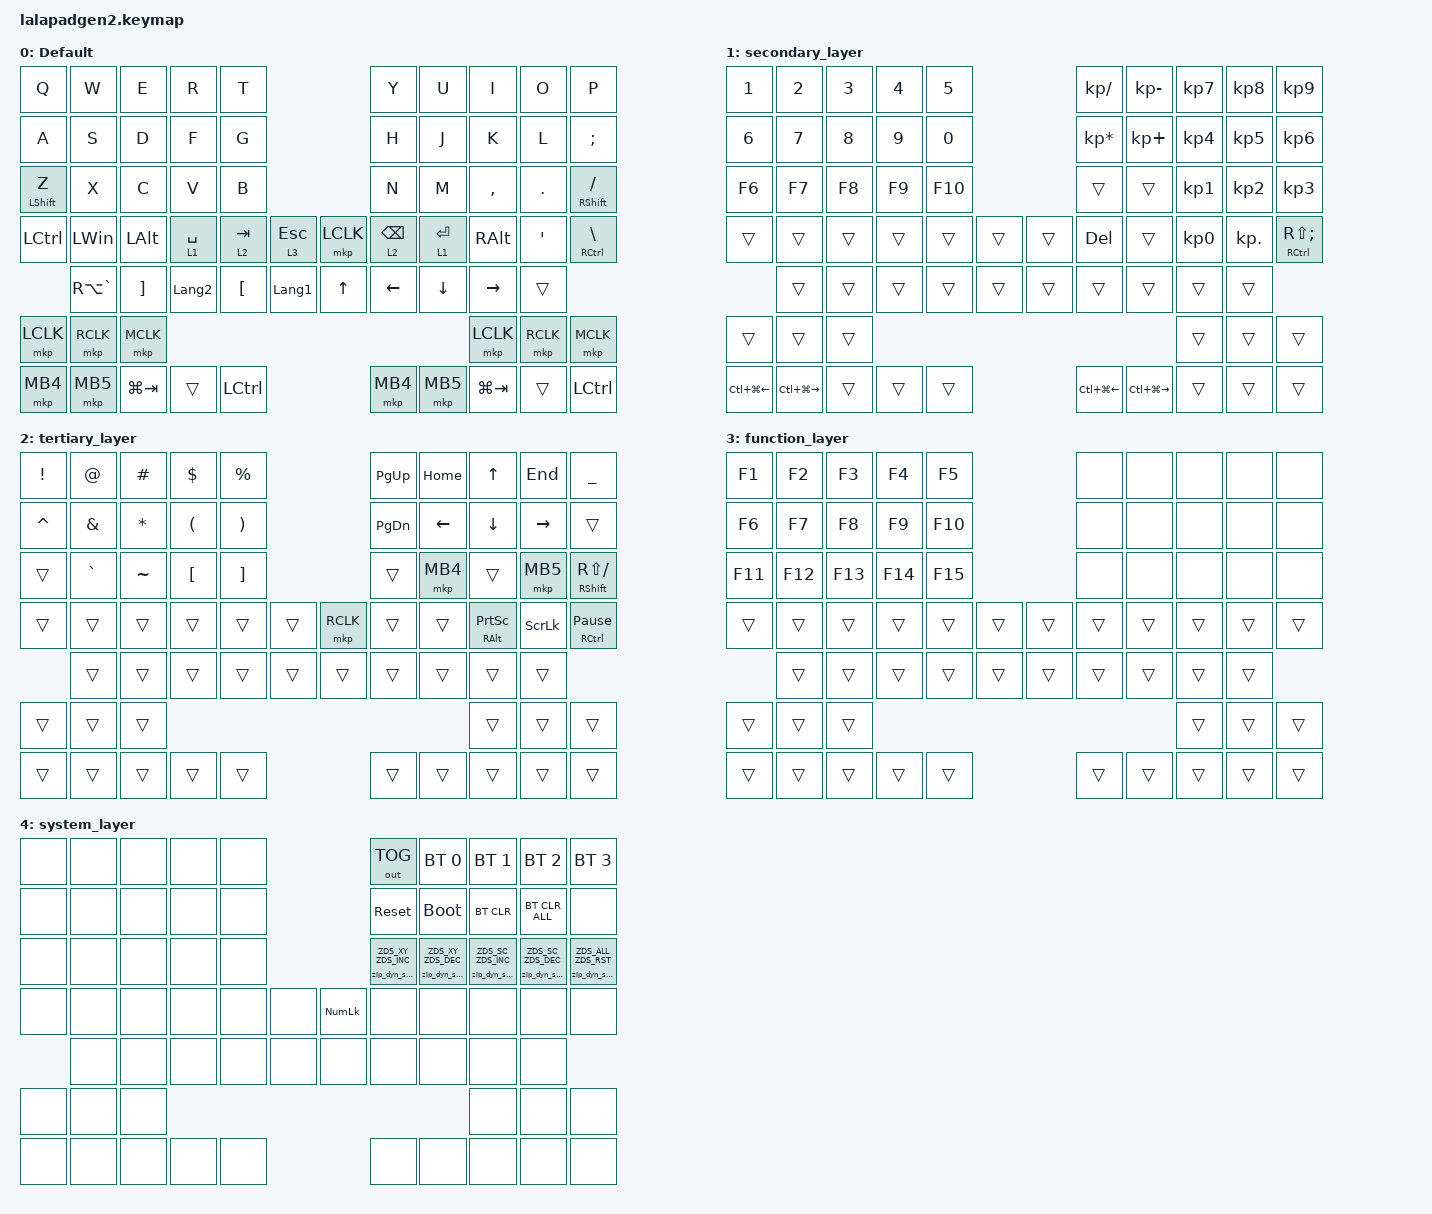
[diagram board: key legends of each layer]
#include <input/processors.dtsi>
#include <dt-bindings/zmk/zip_dynamic_scale.h>
#include <behaviors.dtsi>
#include <dt-bindings/zmk/bt.h>
#include <dt-bindings/zmk/keys.h>
#include <dt-bindings/zmk/outputs.h>
#include <dt-bindings/zmk/pointing.h>

#define DEFAULT_LAYER   0
#define SECONDARY_LAYER 1
#define TERTIARY_LAYER  2
#define SYSTEM_LAYER    3

&mt { quick-tap-ms = <200>; };

&lt { quick-tap-ms = <200>; };

/ {
    behaviors {
        zip_dyn_scale: zip_dyn_scale {
            compatible = "zmk,behavior-zip-dynamic-scale";
            #binding-cells = <2>;
        };

        zip_dyn_scale_set: zip_dyn_scale_set {
            compatible = "zmk,behavior-zip-dynamic-scale-set";
            #binding-cells = <2>;
        };

        mt2: mod_tap2 {
            compatible = "zmk,behavior-hold-tap";
            #binding-cells = <2>;
            flavor = "tap-preferred";
            tapping-term-ms = <200>;
            quick-tap-ms = <200>;
            require-prior-idle-ms = <125>;
            bindings = <&kp>, <&kp>;
        };

        tap_dance_layer_1and2: tap_dance_layer_1and2 {
            compatible = "zmk,behavior-tap-dance";
            label = "td_mo12";
            #binding-cells = <0>;
            bindings = <&mo 1>, <&mo 2>;
        };

        lt2: lt2 {
            compatible = "zmk,behavior-hold-tap";
            label = "layer_tap2";
            bindings = <&mo>, <&kp>;

            #binding-cells = <2>;
            tapping-term-ms = <200>;
            quick-tap-ms = <200>;
            require-prior-idle-ms = <200>;
        };
    };

    combos {
        compatible = "zmk,combos";

        CONBO_ESC {
            bindings = <&kp ESCAPE>;
            key-positions = <0 1>;
            timeout-ms = <30>;
        };

        COMBO_TAB {
            bindings = <&kp TAB>;
            key-positions = <11 10>;
            timeout-ms = <30>;
        };

        COMBO_EQ_MINUS {
            bindings = <&mt EQUAL MINUS>;
            key-positions = <9 8>;
            timeout-ms = <30>;
        };

        NUMLOCK {
            bindings = <&kp KP_NUMLOCK>;
            key-positions = <35 36>;
        };
    };

    keymap {
        compatible = "zmk,keymap";

        DEFAULT_LAYER {
            display-name = "Default";
            bindings = <
&kp Q              &kp W          &kp E              &kp R           &kp T                                        &kp Y             &kp U         &kp I          &kp O             &kp P
&kp A              &kp S          &kp D              &kp F           &kp G                                        &kp H             &kp J         &kp K          &kp L             &kp SEMICOLON
&mt2 LEFT_SHIFT Z  &kp X          &kp C              &kp V           &kp B                                        &kp N             &kp M         &kp COMMA      &kp PERIOD        &mt2 RIGHT_SHIFT SLASH
&kp LCTRL          &kp LWIN       &kp LEFT_ALT       &lt2 1 SPACE    &lt2 2 TAB        &lt2 3 ESC      &mkp LCLK  &lt2 2 BACKSPACE  &lt2 1 ENTER  &kp RIGHT_ALT  &kp SINGLE_QUOTE  &mt2 RCTRL BACKSLASH
                   &kp RA(GRAVE)  &kp RIGHT_BRACKET  &kp LANGUAGE_2  &kp LEFT_BRACKET  &kp LANGUAGE_1  &kp UP     &kp LEFT          &kp DOWN      &kp RIGHT      &trans
&mkp LCLK          &mkp RCLK      &mkp MCLK                                                                                                       &mkp LCLK      &mkp RCLK         &mkp MCLK
&mkp MB4           &mkp MB5       &kp LG(TAB)        &trans          &kp LCTRL                                    &mkp MB4          &mkp MB5      &kp LG(TAB)    &trans            &kp LCTRL
            >;
        };

        SECONDARY_LAYER {
            display-name = "secondary_layer";
            bindings = <
&kp NUMBER_1      &kp NUMBER_2       &kp NUMBER_3  &kp NUMBER_4  &kp N5                   &kp KP_DIVIDE     &kp KP_MINUS       &kp KP_NUMBER_7  &kp KP_NUMBER_8  &kp KP_NUMBER_9
&kp NUMBER_6      &kp N7             &kp N8        &kp N9        &kp N0                   &kp KP_MULTIPLY   &kp KP_PLUS        &kp KP_NUMBER_4  &kp KP_NUMBER_5  &kp KP_NUMBER_6
&kp F6            &kp F7             &kp F8        &kp F9        &kp F10                  &trans            &trans             &kp KP_NUMBER_1  &kp KP_NUMBER_2  &kp KP_NUMBER_3
&trans            &trans             &trans        &trans        &trans   &trans  &trans  &kp DEL           &trans             &kp KP_NUMBER_0  &kp KP_DOT       &mt2 RCTRL RS(SEMI)
                  &trans             &trans        &trans        &trans   &trans  &trans  &trans            &trans             &trans           &trans
&trans            &trans             &trans                                                                                    &trans           &trans           &trans
&kp LC(LG(LEFT))  &kp LC(LG(RIGHT))  &trans        &trans        &trans                   &kp LC(LG(LEFT))  &kp LC(LG(RIGHT))  &trans           &trans           &trans
            >;
        };

        TERTIARY_LAYER {
            display-name = "tertiary_layer";
            bindings = <
&kp EXCLAMATION  &kp AT_SIGN    &kp HASH      &kp DOLLAR            &kp PERCENT                               &kp PAGE_UP    &kp HOME  &kp UP_ARROW               &kp END    &kp UNDERSCORE
&kp CARET        &kp AMPERSAND  &kp ASTERISK  &kp LEFT_PARENTHESIS  &kp RIGHT_PARENTHESIS                     &kp PAGE_DOWN  &kp LEFT  &kp DOWN_ARROW             &kp RIGHT  &trans
&trans           &kp GRAVE      &kp TILDE     &kp LEFT_BRACKET      &kp RIGHT_BRACKET                         &trans         &mkp MB4  &trans                     &mkp MB5   &mt2 RIGHT_SHIFT RS(SLASH)
&trans           &trans         &trans        &trans                &trans                 &trans  &mkp RCLK  &trans         &trans    &mt RIGHT_ALT PRINTSCREEN  &kp SLCK   &mt RIGHT_CONTROL PAUSE_BREAK
                 &trans         &trans        &trans                &trans                 &trans  &trans     &trans         &trans    &trans                     &trans
&trans           &trans         &trans                                                                                                 &trans                     &trans     &trans
&trans           &trans         &trans        &trans                &trans                                    &trans         &trans    &trans                     &trans     &trans
            >;
        };

        FUNCTION_LAYER {
            display-name = "function_layer";
            bindings = <
&kp F1   &kp F2   &kp F3   &kp F4   &kp F5                   &none   &none   &none   &none   &none
&kp F6   &kp F7   &kp F8   &kp F9   &kp F10                  &none   &none   &none   &none   &none
&kp F11  &kp F12  &kp F13  &kp F14  &kp F15                  &none   &none   &none   &none   &none
&trans   &trans   &trans   &trans   &trans   &trans  &trans  &trans  &trans  &trans  &trans  &trans
         &trans   &trans   &trans   &trans   &trans  &trans  &trans  &trans  &trans  &trans
&trans   &trans   &trans                                                     &trans  &trans  &trans
&trans   &trans   &trans   &trans   &trans                   &trans  &trans  &trans  &trans  &trans
            >;
        };

        SYSTEM_LAYER {
            display-name = "system_layer";
            bindings = <
&none  &none  &none  &none  &none                         &out OUT_TOG                   &bt BT_SEL 0                   &bt BT_SEL 1                   &bt BT_SEL 2                   &bt BT_SEL 3
&none  &none  &none  &none  &none                         &sys_reset                     &bootloader                    &bt BT_CLR                     &bt BT_CLR_ALL                 &none
&none  &none  &none  &none  &none                         &zip_dyn_scale ZDS_XY ZDS_INC  &zip_dyn_scale ZDS_XY ZDS_DEC  &zip_dyn_scale ZDS_SC ZDS_INC  &zip_dyn_scale ZDS_SC ZDS_DEC  &zip_dyn_scale ZDS_ALL ZDS_RST
&none  &none  &none  &none  &none  &none  &kp KP_NUMLOCK  &none                          &none                          &none                          &none                          &none
       &none  &none  &none  &none  &none  &none           &none                          &none                          &none                          &none
&none  &none  &none                                                                                                     &none                          &none                          &none
&none  &none  &none  &none  &none                         &none                          &none                          &none                          &none                          &none
            >;
        };
    };

    conditional_layers {
        compatible = "zmk,conditional-layers";

        system_layer {
            if-layers = <1 2 3>;
            then-layer = <4>;
        };
    };
};
